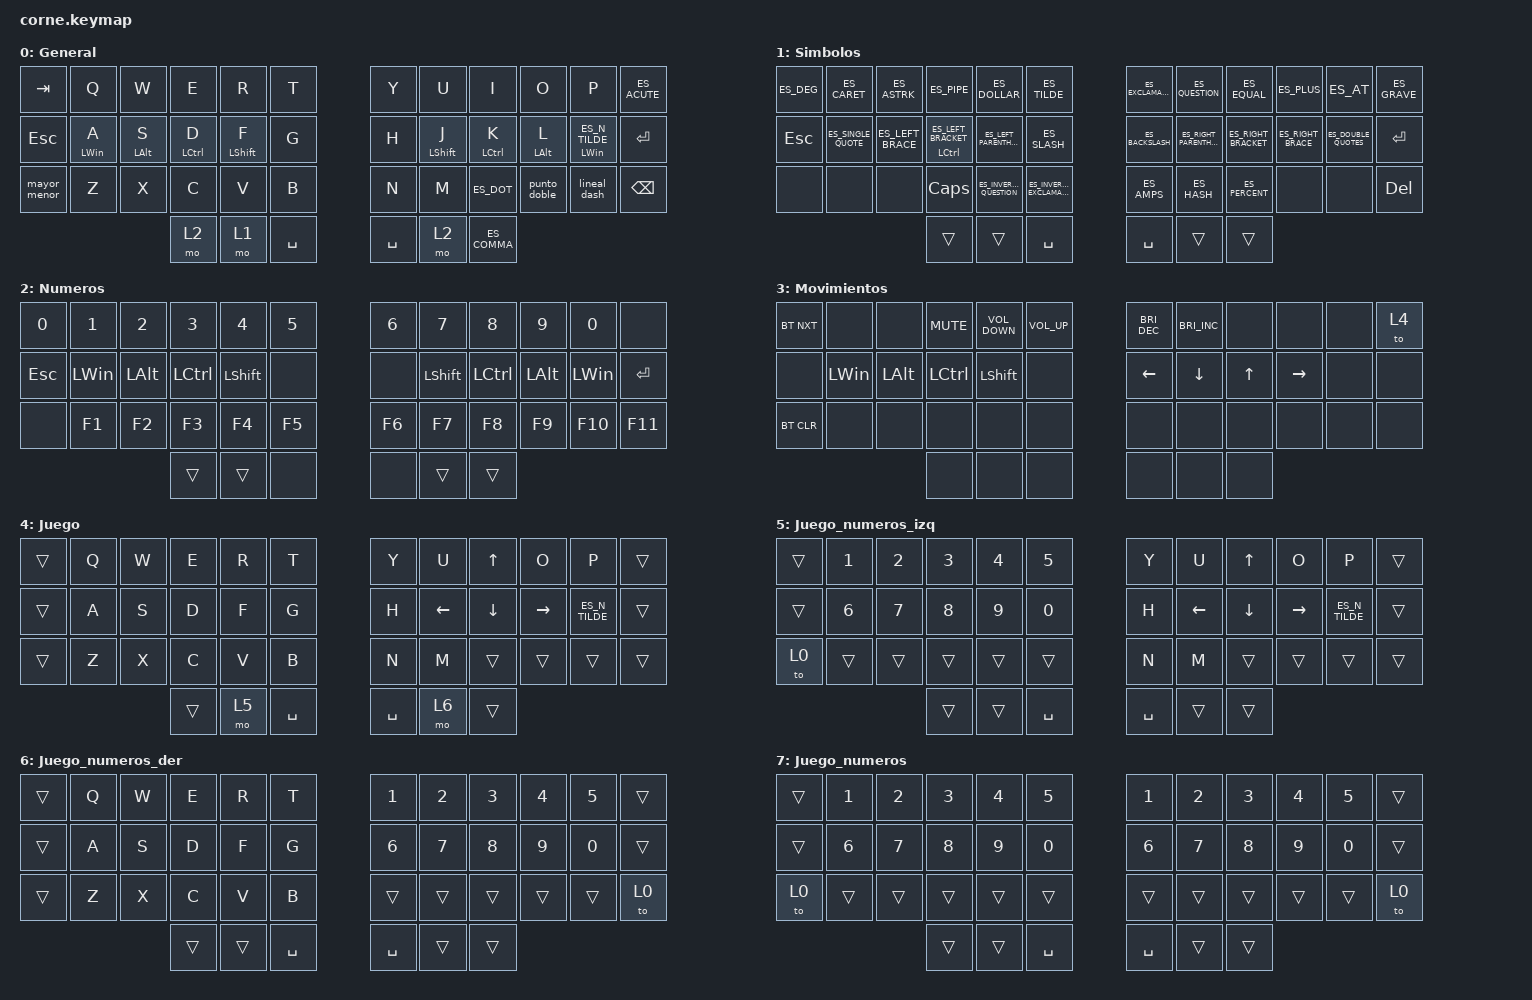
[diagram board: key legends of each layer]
#include <behaviors.dtsi>
#include <dt-bindings/zmk/bt.h>
#include <dt-bindings/zmk/keys.h>
#include "keys_es_latin_american.h"

/ {
    combos { compatible = "zmk,combos"; };

    behaviors {
        tap_hold_150: tap_hold_150 {
            compatible = "zmk,behavior-hold-tap";
            label = "TAP_HOLD_150";
            bindings = <&kp>, <&kp>;

            #binding-cells = <2>;
            tapping-term-ms = <150>;
            require-prior-idle-ms = <100>;
            quick-tap-ms = <150>;
            flavor = "tap-preferred";
        };

        punto_coma: punto_coma {
            compatible = "zmk,behavior-mod-morph";
            label = "PUNTO_COMA";
            bindings = <&kp ES_DOT>, <&kp ES_COMMA>;

            #binding-cells = <0>;
            mods = <(MOD_LSFT)>;
        };

        punto_doble: punto_doble {
            compatible = "zmk,behavior-mod-morph";
            label = "PUNTO_DOBLE";
            bindings = <&kp ES_COLON>, <&kp ES_SEMICOLON>;

            #binding-cells = <0>;
            mods = <(MOD_LSFT)>;
        };

        lineal_dash: lineal_dash {
            compatible = "zmk,behavior-mod-morph";
            label = "LINEAL_DASH";
            bindings = <&kp ES_MINUS>, <&kp ES_UNDERSCORE>;

            #binding-cells = <0>;
            mods = <(MOD_LSFT)>;
        };

        comillas: comillas {
            compatible = "zmk,behavior-mod-morph";
            label = "COMILLAS";
            bindings = <&kp ES_DOUBLE_QUOTES>, <&kp ES_SINGLE_QUOTE>;

            #binding-cells = <0>;
            mods = <(MOD_LSFT)>;
        };

        mayor_menor: mayor_menor {
            compatible = "zmk,behavior-mod-morph";
            label = "MAYOR_MENOR";
            bindings = <&kp ES_LT>, <&kp ES_GT>;

            #binding-cells = <0>;
            mods = <(MOD_LSFT)>;
        };

        hold_tap_250: hold_tap_250 {
            compatible = "zmk,behavior-hold-tap";
            label = "HOLD_TAP_250";
            bindings = <&kp>, <&kp>;

            #binding-cells = <2>;
            tapping-term-ms = <250>;
            require-prior-idle-ms = <100>;
            quick-tap-ms = <250>;
            flavor = "tap-preferred";
        };
    };

    keymap {
        compatible = "zmk,keymap";

        General {
            bindings = <
&kp TAB       &kp Q                     &kp W                     &kp E                         &kp R                       &kp T        &kp Y      &kp U                       &kp I                         &kp O                     &kp P                              &kp ES_ACUTE
&kp ESCAPE    &hold_tap_250 LEFT_WIN A  &hold_tap_250 LEFT_ALT S  &tap_hold_150 LEFT_CONTROL D  &tap_hold_150 LEFT_SHIFT F  &kp G        &kp H      &tap_hold_150 LEFT_SHIFT J  &tap_hold_150 LEFT_CONTROL K  &hold_tap_250 LEFT_ALT L  &hold_tap_250 LEFT_WIN ES_N_TILDE  &kp ENTER
&mayor_menor  &kp Z                     &kp X                     &kp C                         &kp V                       &kp B        &kp N      &kp M                       &kp ES_DOT                    &punto_doble              &lineal_dash                       &kp BACKSPACE
                                                                  &mo 2                         &mo 1                       &kp SPACE    &kp SPACE  &mo 2                       &kp ES_COMMA
            >;
        };

        Simbolos {
            bindings = <
&kp ES_DEG  &kp ES_CARET         &kp ES_ASTRK       &kp ES_PIPE                          &kp ES_DOLLAR             &kp ES_TILDE                   &kp ES_EXCLAMATION  &kp ES_QUESTION           &kp ES_EQUAL          &kp ES_PLUS         &kp ES_AT             &kp ES_GRAVE
&kp ESCAPE  &kp ES_SINGLE_QUOTE  &kp ES_LEFT_BRACE  &hold_tap_250 LCTRL ES_LEFT_BRACKET  &kp ES_LEFT_PARENTHESIS   &kp ES_SLASH                   &kp ES_BACKSLASH    &kp ES_RIGHT_PARENTHESIS  &kp ES_RIGHT_BRACKET  &kp ES_RIGHT_BRACE  &kp ES_DOUBLE_QUOTES  &kp ENTER
&none       &none                &none              &kp CAPSLOCK                         &kp ES_INVERTED_QUESTION  &kp ES_INVERTED_EXCLAMATION    &kp ES_AMPS         &kp ES_HASH               &kp ES_PERCENT        &none               &none                 &kp DELETE
                                                    &trans                               &trans                    &kp SPACE                      &kp SPACE           &trans                    &trans
            >;
        };

        Numeros {
            bindings = <
&kp N0      &kp N1        &kp N2        &kp N3            &kp N4          &kp N5    &kp N6  &kp N7          &kp N8            &kp N9        &kp N0        &none
&kp ESCAPE  &kp LEFT_WIN  &kp LEFT_ALT  &kp LEFT_CONTROL  &kp LEFT_SHIFT  &none     &none   &kp LEFT_SHIFT  &kp LEFT_CONTROL  &kp LEFT_ALT  &kp LEFT_WIN  &kp ENTER
&none       &kp F1        &kp F2        &kp F3            &kp F4          &kp F5    &kp F6  &kp F7          &kp F8            &kp F9        &kp F10       &kp F11
                                        &trans            &trans          &none     &none   &trans          &trans
            >;
        };

        Movimientos {
            bindings = <
&bt BT_NXT  &none         &none         &kp C_MUTE        &kp C_VOLUME_DOWN  &kp C_VOLUME_UP    &kp C_BRIGHTNESS_DEC  &kp C_BRIGHTNESS_INC  &none   &none      &none  &to 4
&none       &kp LEFT_WIN  &kp LEFT_ALT  &kp LEFT_CONTROL  &kp LEFT_SHIFT     &none              &kp LEFT              &kp DOWN              &kp UP  &kp RIGHT  &none  &none
&bt BT_CLR  &none         &none         &none             &none              &none              &none                 &none                 &none   &none      &none  &none
                                        &none             &none              &none              &none                 &none                 &none
            >;
        };

        Juego {
            bindings = <
&trans  &kp Q  &kp W  &kp E   &kp R  &kp T        &kp Y      &kp U     &kp UP    &kp O      &kp P           &trans
&trans  &kp A  &kp S  &kp D   &kp F  &kp G        &kp H      &kp LEFT  &kp DOWN  &kp RIGHT  &kp ES_N_TILDE  &trans
&trans  &kp Z  &kp X  &kp C   &kp V  &kp B        &kp N      &kp M     &trans    &trans     &trans          &trans
                      &trans  &mo 5  &kp SPACE    &kp SPACE  &mo 6     &trans
            >;
        };

        Juego_numeros_izq {
            bindings = <
&trans  &kp N1  &kp N2  &kp N3  &kp N4  &kp N5       &kp Y      &kp U     &kp UP    &kp O      &kp P           &trans
&trans  &kp N6  &kp N7  &kp N8  &kp N9  &kp N0       &kp H      &kp LEFT  &kp DOWN  &kp RIGHT  &kp ES_N_TILDE  &trans
&to 0   &trans  &trans  &trans  &trans  &trans       &kp N      &kp M     &trans    &trans     &trans          &trans
                        &trans  &trans  &kp SPACE    &kp SPACE  &trans    &trans
            >;
        };

        Juego_numeros_der {
            bindings = <
&trans  &kp Q  &kp W  &kp E   &kp R   &kp T        &kp N1     &kp N2  &kp N3  &kp N4  &kp N5  &trans
&trans  &kp A  &kp S  &kp D   &kp F   &kp G        &kp N6     &kp N7  &kp N8  &kp N9  &kp N0  &trans
&trans  &kp Z  &kp X  &kp C   &kp V   &kp B        &trans     &trans  &trans  &trans  &trans  &to 0
                      &trans  &trans  &kp SPACE    &kp SPACE  &trans  &trans
            >;
        };

        Juego_numeros {
            bindings = <
&trans  &kp N1  &kp N2  &kp N3  &kp N4  &kp N5       &kp N1     &kp N2  &kp N3  &kp N4  &kp N5  &trans
&trans  &kp N6  &kp N7  &kp N8  &kp N9  &kp N0       &kp N6     &kp N7  &kp N8  &kp N9  &kp N0  &trans
&to 0   &trans  &trans  &trans  &trans  &trans       &trans     &trans  &trans  &trans  &trans  &to 0
                        &trans  &trans  &kp SPACE    &kp SPACE  &trans  &trans
            >;
        };
    };

    conditional_layers {
        compatible = "zmk,conditional-layers";

        Capa_movimiento {
            if-layers = <1 2>;
            then-layer = <3>;
        };

        Capa_juego_numeros {
            if-layers = <5 6>;
            then-layer = <7>;
        };
    };
};
